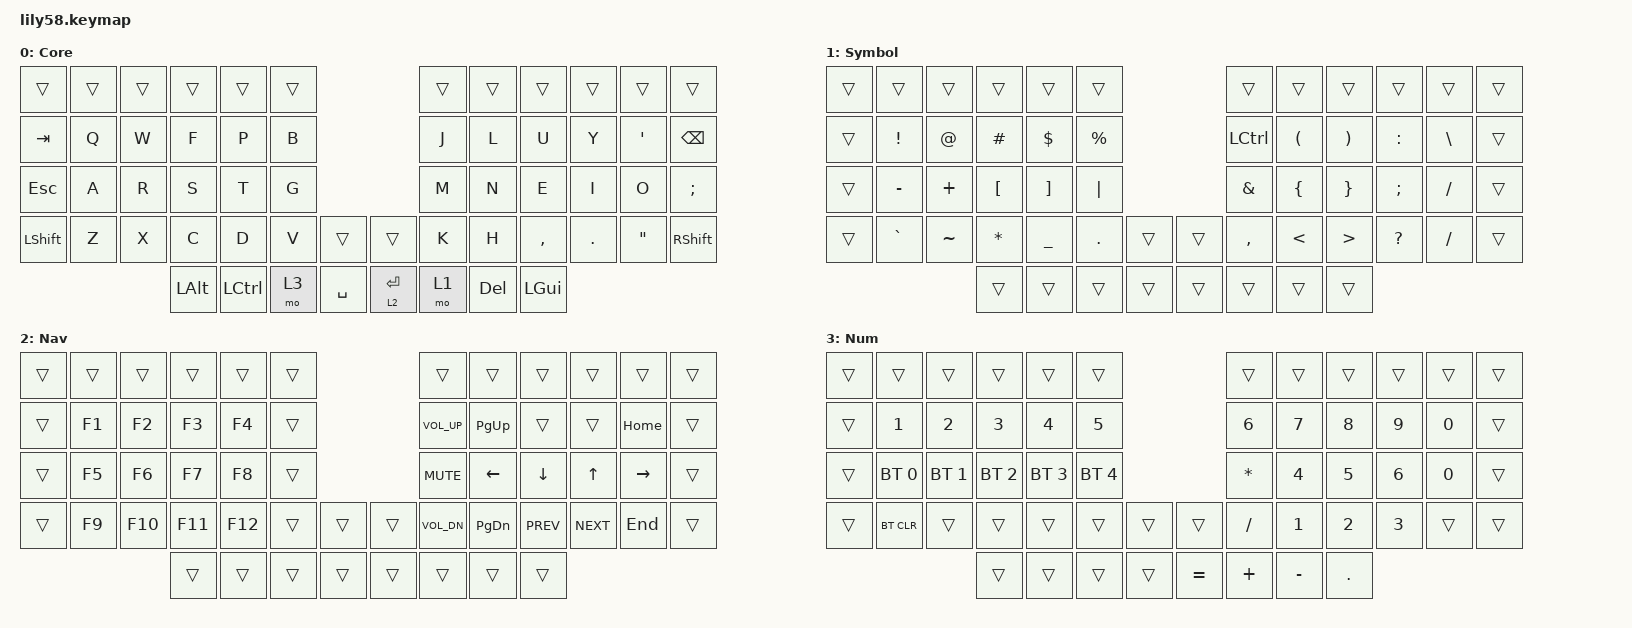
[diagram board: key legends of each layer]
/*
 * Copyright (c) 2020 The ZMK Contributors
 *
 * SPDX-License-Identifier: MIT
 */

#include <behaviors.dtsi>
#include <dt-bindings/zmk/bt.h>
#include <dt-bindings/zmk/keys.h>

/ {
    combos {
        compatible = "zmk,combos";

        copy {
            bindings = <&kp LC(C)>;
            key-positions = <27 28>;
        };

        paste {
            bindings = <&kp LC(V)>;
            key-positions = <39 40>;
        };

        find {
            bindings = <&kp LC(F)>;
            key-positions = <15 16>;
        };

        find-and-replace {
            bindings = <&kp LC(R)>;
            key-positions = <14 15>;
        };

        delinea {
            bindings = <&delinea>;
            key-positions = <20 21>;
        };
    };

    behaviors {
        ht_tp: ht_tp {
            compatible = "zmk,behavior-hold-tap";
            label = "HT_TP";
            bindings = <&mo>, <&kp>;

            #binding-cells = <2>;
            tapping-term-ms = <150>;
            hold-trigger-key-positions = <55 52>;
        };

        shift: shift {
            compatible = "zmk,behavior-hold-tap";
            label = "SHIFT";
            #binding-cells = <2>;
            tapping-term-ms = <150>;
            hold-trigger-key-positions = <53 54>;
            bindings = <&kp>, <&kp>;

            flavor = "balanced";
        };
    };

    macros {
        delinea: copy {
            compatible = "zmk,behavior-macro";
            #binding-cells = <0>;
            bindings = <&kp LS(A) &kp LS(P) &kp N &kp N &kp EQUAL &kp SQT &kp N1 &kp LS(K) &kp DOT &kp M &kp N0 &kp N5 &kp O &kp G &kp Q &kp O>;
            label = "COPY";
        };
    };

    keymap {
        compatible = "zmk,keymap";

        Core {
            bindings = <
&trans     &trans  &trans  &trans    &trans     &trans                            &trans  &trans   &trans     &trans   &trans             &trans
&kp TAB    &kp Q   &kp W   &kp F     &kp P      &kp B                             &kp J   &kp L    &kp U      &kp Y    &kp SQT            &kp BSPC
&kp ESC    &kp A   &kp R   &kp S     &kp T      &kp G                             &kp M   &kp N    &kp E      &kp I    &kp O              &kp SEMI
&kp LSHFT  &kp Z   &kp X   &kp C     &kp D      &kp V   &trans       &trans       &kp K   &kp H    &kp COMMA  &kp DOT  &kp DOUBLE_QUOTES  &kp RSHFT
                           &kp LALT  &kp LCTRL  &mo 3   &kp SPACE    &lt 2 ENTER  &mo 1   &kp DEL  &kp LGUI
            >;
        };

        Symbol {
            bindings = <
&trans  &trans           &trans       &trans            &trans             &trans                         &trans         &trans                &trans                 &trans         &trans         &trans
&trans  &kp EXCLAMATION  &kp AT_SIGN  &kp POUND         &kp DOLLAR         &kp PERCENT                    &kp LCTRL      &kp LEFT_PARENTHESIS  &kp RIGHT_PARENTHESIS  &kp COLON      &kp BACKSLASH  &trans
&trans  &kp MINUS        &kp PLUS     &kp LEFT_BRACKET  &kp RIGHT_BRACKET  &kp PIPE                       &kp AMPERSAND  &kp LEFT_BRACE        &kp RIGHT_BRACE        &kp SEMICOLON  &kp SLASH      &trans
&trans  &kp GRAVE        &kp TILDE    &kp ASTERISK      &kp UNDERSCORE     &kp PERIOD   &trans    &trans  &kp COMMA      &kp LESS_THAN         &kp GREATER_THAN       &kp QUESTION   &kp SLASH      &trans
                                      &trans            &trans             &trans       &trans    &trans  &trans         &trans                &trans
            >;
        };

        Nav {
            bindings = <
&trans  &trans  &trans   &trans   &trans   &trans                    &trans           &trans     &trans      &trans      &trans     &trans
&trans  &kp F1  &kp F2   &kp F3   &kp F4   &trans                    &kp C_VOLUME_UP  &kp PG_UP  &trans      &trans      &kp HOME   &trans
&trans  &kp F5  &kp F6   &kp F7   &kp F8   &trans                    &kp C_MUTE       &kp LEFT   &kp DOWN    &kp UP      &kp RIGHT  &trans
&trans  &kp F9  &kp F10  &kp F11  &kp F12  &trans  &trans    &trans  &kp C_VOL_DN     &kp PG_DN  &kp C_PREV  &kp C_NEXT  &kp END    &trans
                         &trans   &trans   &trans  &trans    &trans  &trans           &trans     &trans
            >;
        };

        Num {
            bindings = <
&trans  &trans        &trans        &trans        &trans        &trans                             &trans        &trans     &trans   &trans  &trans  &trans
&trans  &kp N1        &kp N2        &kp N3        &kp N4        &kp N5                             &kp N6        &kp N7     &kp N8   &kp N9  &kp N0  &trans
&trans  &bt BT_SEL 0  &bt BT_SEL 1  &bt BT_SEL 2  &bt BT_SEL 3  &bt BT_SEL 4                       &kp ASTERISK  &kp N4     &kp N5   &kp N6  &kp N0  &trans
&trans  &bt BT_CLR    &trans        &trans        &trans        &trans        &trans    &trans     &kp SLASH     &kp N1     &kp N2   &kp N3  &trans  &trans
                                    &trans        &trans        &trans        &trans    &kp EQUAL  &kp PLUS      &kp MINUS  &kp DOT
            >;
        };
    };
};
